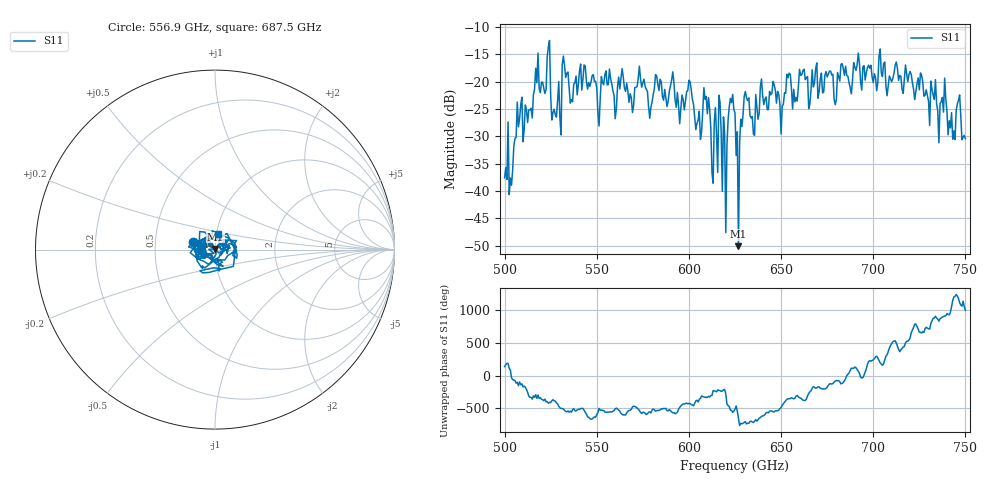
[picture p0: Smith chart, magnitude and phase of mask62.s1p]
!Created with skrf (http://scikit-rf.org).
# GHz S MA R 50.0
!freq magS11 angS11
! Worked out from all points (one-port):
!   401 points, 500 GHz to 750 GHz, reference 50 ohm
!   lowest |S11| = -50.1 dB at 626.9 GHz (marker M1), VSWR 1.01, Z = 50.1 + j0.293 ohm
!   |S11| at or under -10 dB: start of sweep to end of sweep
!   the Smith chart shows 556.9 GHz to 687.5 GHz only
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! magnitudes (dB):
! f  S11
! 500 GHz  -37.6
! 516.9 GHz  -17.5
! 523.8 GHz  -13.6
! 526.9 GHz  -25.1
! 531.2 GHz  -16.9
! 562.5 GHz  -21.3
! 579.4 GHz  -24.7
! 590.6 GHz  -19.7
! 593.8 GHz  -22.0
! 600 GHz  -19.7
! 605.6 GHz  -25.4
! 609.4 GHz  -22.7
! 612.5 GHz  -36.6
! 617.5 GHz  -29.3
! 619.4 GHz  -29.4
! 622.5 GHz  -23.1
! 625 GHz  -25.7
! 626.9 GHz  -50.1
! 631.2 GHz  -23.0
! 634.4 GHz  -26.4
! 640 GHz  -22.6
! 656.2 GHz  -25.0
! 687.5 GHz  -21.1
! 718.8 GHz  -20.0
! 738.1 GHz  -25.6
! 743.1 GHz  -30.5
! 746.2 GHz  -23.4
! 750 GHz  -30.4
